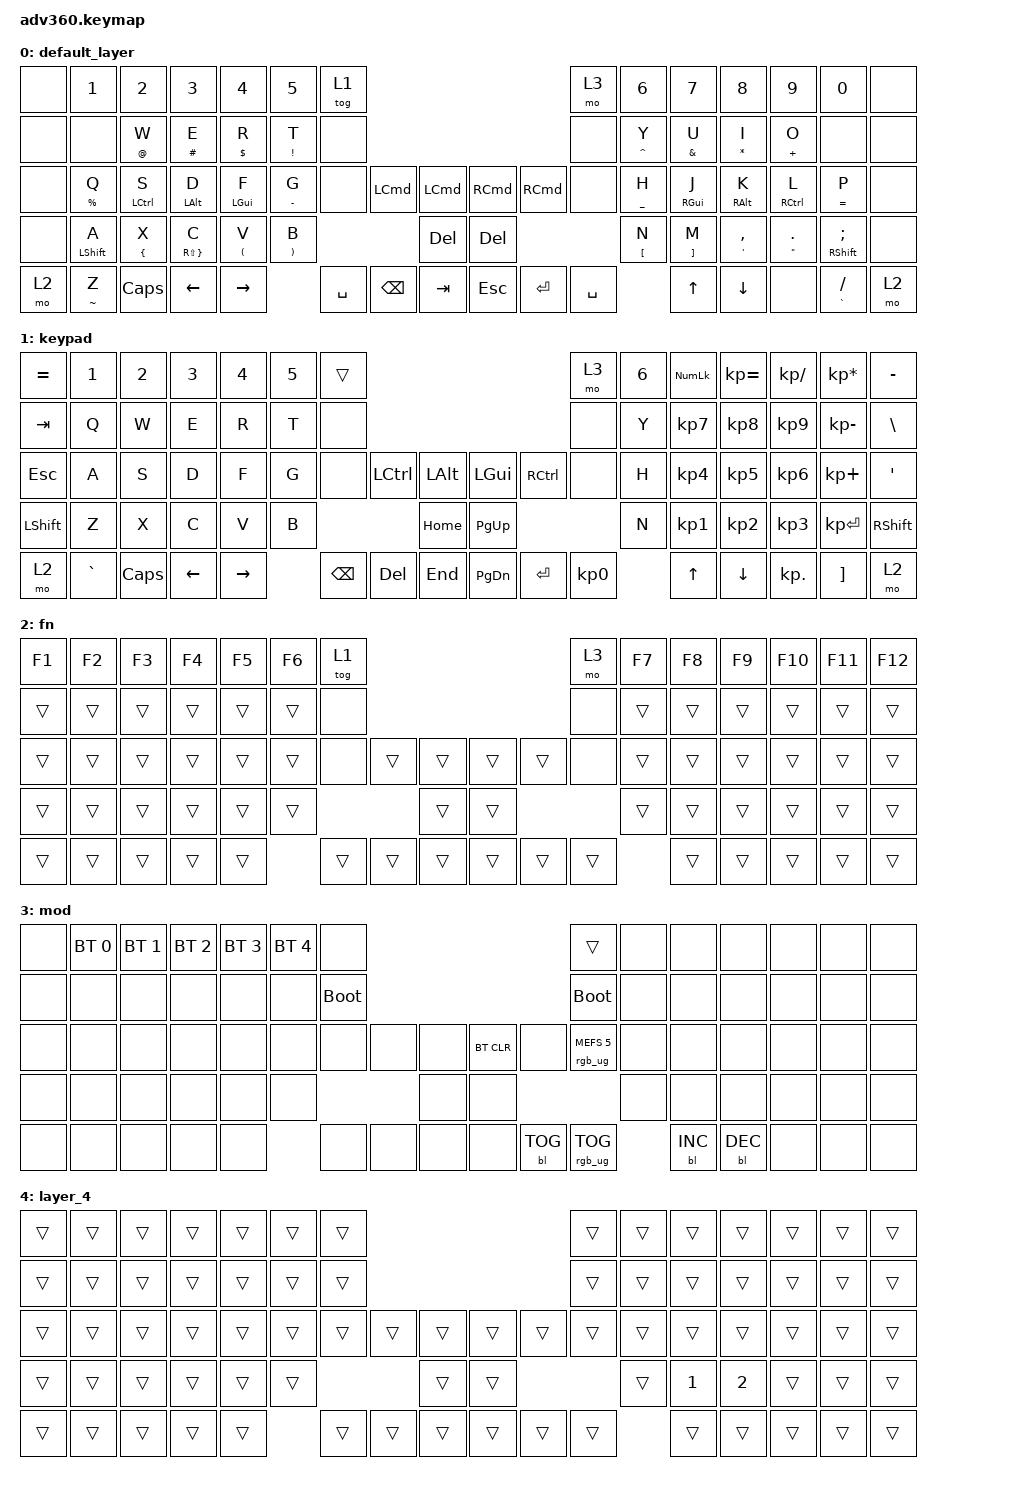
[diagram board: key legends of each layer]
#include <behaviors.dtsi>
#include <dt-bindings/zmk/backlight.h>
#include <dt-bindings/zmk/bt.h>
#include <dt-bindings/zmk/keys.h>
#include <dt-bindings/zmk/rgb.h>

/ {
    behaviors {
        #include "macros.dtsi"

        hm: homerow_mods {
            compatible = "zmk,behavior-hold-tap";
            label = "HOMEROW_MODS";
            #binding-cells = <2>;
            tapping-term-ms = <200>;
            quick_tap_ms = <175>;
            flavor = "tap-preferred";
            bindings = <&kp>, <&kp>;
        };
    };

    keymap {
        compatible = "zmk,keymap";

        default_layer {
            bindings = <
&none  &kp N1            &kp N2              &kp N3                 &kp N4                  &kp N5                   &tog 1                                                                                   &mo 3      &kp N6              &kp N7               &kp N8                  &kp N9                    &kp N0                &none
&none  &none             &mt AT_SIGN W       &mt HASH E             &mt DOLLAR R            &mt EXCLAMATION T        &none                                                                                    &none      &mt CARET Y         &mt AMPERSAND U      &mt ASTERISK I          &mt PLUS O                &none                 &none
&none  &mt PERCENT Q     &hm LEFT_CONTROL S  &hm LEFT_ALT D         &hm LEFT_GUI F          &mt MINUS G              &none      &kp LEFT_COMMAND  &kp LEFT_COMMAND      &kp RIGHT_COMMAND  &kp RIGHT_COMMAND  &none      &mt UNDERSCORE H    &hm RIGHT_GUI J      &hm RIGHT_ALT K         &hm RIGHT_CONTROL L       &mt EQUAL P           &none
&none  &hm LEFT_SHIFT A  &mt LEFT_BRACE X    &mt RS(RIGHT_BRACE) C  &mt LEFT_PARENTHESIS V  &mt RIGHT_PARENTHESIS B                               &kp DELETE            &kp DELETE                                       &mt LEFT_BRACKET N  &mt RIGHT_BRACKET M  &mt SINGLE_QUOTE COMMA  &mt DOUBLE_QUOTES PERIOD  &hm RIGHT_SHIFT SEMI  &none
&mo 2  &mt TILDE Z       &kp CAPS            &kp LEFT               &kp RIGHT                                        &kp SPACE  &kp BACKSPACE     &kp TAB               &kp ESCAPE         &kp ENTER          &kp SPACE                      &kp UP               &kp DOWN                &none                     &mt GRAVE SLASH       &mo 2
            >;
        };

        keypad {
            bindings = <
&kp EQUAL  &kp N1     &kp N2    &kp N3    &kp N4     &kp N5  &trans                                                   &mo 3      &kp N6  &kp KP_NUM  &kp KP_EQUAL  &kp KP_DIVIDE  &kp KP_MULTIPLY  &kp MINUS
&kp TAB    &kp Q      &kp W     &kp E     &kp R      &kp T   &none                                                    &none      &kp Y   &kp KP_N7   &kp KP_N8     &kp KP_N9      &kp KP_MINUS     &kp BSLH
&kp ESC    &kp A      &kp S     &kp D     &kp F      &kp G   &none     &kp LCTRL  &kp LALT      &kp LGUI   &kp RCTRL  &none      &kp H   &kp KP_N4   &kp KP_N5     &kp KP_N6      &kp KP_PLUS      &kp SQT
&kp LSHFT  &kp Z      &kp X     &kp C     &kp V      &kp B                        &kp HOME      &kp PG_UP                        &kp N   &kp KP_N1   &kp KP_N2     &kp KP_N3      &kp KP_ENTER     &kp RSHFT
&mo 2      &kp GRAVE  &kp CAPS  &kp LEFT  &kp RIGHT          &kp BSPC  &kp DEL    &kp END       &kp PG_DN  &kp ENTER  &kp KP_N0          &kp UP      &kp DOWN      &kp KP_DOT     &kp RBKT         &mo 2
            >;
        };

        fn {
            bindings = <
&kp F1  &kp F2  &kp F3  &kp F4  &kp F5  &kp F6  &tog 1                                      &mo 3   &kp F7  &kp F8  &kp F9  &kp F10  &kp F11  &kp F12
&trans  &trans  &trans  &trans  &trans  &trans  &none                                       &none   &trans  &trans  &trans  &trans   &trans   &trans
&trans  &trans  &trans  &trans  &trans  &trans  &none   &trans  &trans      &trans  &trans  &none   &trans  &trans  &trans  &trans   &trans   &trans
&trans  &trans  &trans  &trans  &trans  &trans                  &trans      &trans                  &trans  &trans  &trans  &trans   &trans   &trans
&trans  &trans  &trans  &trans  &trans          &trans  &trans  &trans      &trans  &trans  &trans          &trans  &trans  &trans   &trans   &trans
            >;
        };

        mod {
            bindings = <
&none  &bt BT_SEL 0  &bt BT_SEL 1  &bt BT_SEL 2  &bt BT_SEL 3  &bt BT_SEL 4  &none                                                  &trans                  &none  &none       &none       &none  &none  &none
&none  &none         &none         &none         &none         &none         &bootloader                                            &bootloader             &none  &none       &none       &none  &none  &none
&none  &none         &none         &none         &none         &none         &none        &none  &none      &bt BT_CLR  &none       &rgb_ug RGB_MEFS_CMD 5  &none  &none       &none       &none  &none  &none
&none  &none         &none         &none         &none         &none                             &none      &none                                           &none  &none       &none       &none  &none  &none
&none  &none         &none         &none         &none                       &none        &none  &none      &none       &bl BL_TOG  &rgb_ug RGB_TOG                &bl BL_INC  &bl BL_DEC  &none  &none  &none
            >;
        };

        layer_4 {
            bindings = <
&trans  &trans  &trans  &trans  &trans  &trans  &trans                                      &trans  &trans  &trans  &trans        &trans  &trans  &trans
&trans  &trans  &trans  &trans  &trans  &trans  &trans                                      &trans  &trans  &trans  &trans        &trans  &trans  &trans
&trans  &trans  &trans  &trans  &trans  &trans  &trans  &trans  &trans      &trans  &trans  &trans  &trans  &trans  &trans        &trans  &trans  &trans
&trans  &trans  &trans  &trans  &trans  &trans                  &trans      &trans                  &trans  &kp N1  &kp NUMBER_2  &trans  &trans  &trans
&trans  &trans  &trans  &trans  &trans          &trans  &trans  &trans      &trans  &trans  &trans          &trans  &trans        &trans  &trans  &trans
            >;
        };
    };
};
